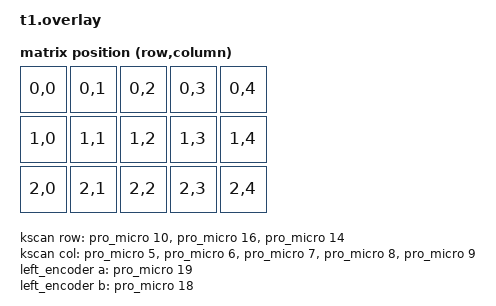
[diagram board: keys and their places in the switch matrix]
#include <dt-bindings/zmk/matrix_transform.h>

#include "t1-layouts.dtsi"

/ {
    chosen {
        zmk,physical-layout = &default_layout;
    };

    kscan: kscan {
        compatible = "zmk,kscan-gpio-matrix";
        diode-direction = "col2row";
        wakeup-source;

        col-gpios
            = <&pro_micro 5 GPIO_ACTIVE_HIGH>
            , <&pro_micro 6 GPIO_ACTIVE_HIGH>
            , <&pro_micro 7 GPIO_ACTIVE_HIGH>
            , <&pro_micro 8 GPIO_ACTIVE_HIGH>
            , <&pro_micro 9 GPIO_ACTIVE_HIGH>
            ;

        row-gpios
            = <&pro_micro 10 (GPIO_ACTIVE_HIGH | GPIO_PULL_DOWN)>
            , <&pro_micro 16 (GPIO_ACTIVE_HIGH | GPIO_PULL_DOWN)>
            , <&pro_micro 14 (GPIO_ACTIVE_HIGH | GPIO_PULL_DOWN)>
            ;
    };

    default_transform: default_transform {
        compatible = "zmk,matrix-transform";
        columns = <5>;
        rows = <3>;

        map = <
            RC(0, 0) RC(0, 1) RC(0, 2) RC(0, 3) RC(0, 4)
            RC(1, 0) RC(1, 1) RC(1, 2) RC(1, 3) RC(1, 4)
            RC(2, 0) RC(2, 1) RC(2, 2) RC(2, 3) RC(2, 4)
        >;
    };

    // EC11 Rotary Hardware Nodes
    left_encoder: encoder_left {
        compatible = "alps,ec11";
        a-gpios = <&pro_micro 19 (GPIO_ACTIVE_LOW | GPIO_PULL_UP)>; 
        b-gpios = <&pro_micro 18 (GPIO_ACTIVE_LOW | GPIO_PULL_UP)>; 
        steps = <80>;
        status = "okay";
    };

    sensors: sensors {
        compatible = "zmk,keymap-sensors";
        sensors = <&left_encoder>;
        triggers-per-rotation = <20>;
    };

};
